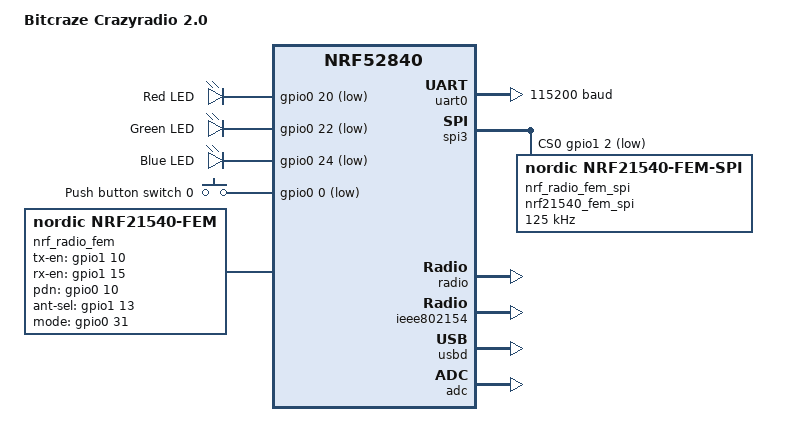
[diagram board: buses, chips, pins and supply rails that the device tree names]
/*
 * Copyright (c) 2022 Bitcraze AB
 * Copyright (c) 2020 Nordic Semiconductor ASA
 * Copyright (c) 2017 Linaro Limited
 *
 * SPDX-License-Identifier: Apache-2.0
 */

/dts-v1/;
#include <nordic/nrf52840_qiaa.dtsi>
#include "bitcraze_crazyradio_2-pinctrl.dtsi"

/ {
	model = "Bitcraze Crazyradio 2.0";
	compatible = "nordic,bitcraze_crazyradio_2";

	chosen {
		zephyr,console = &uart0;
		zephyr,shell-uart = &uart0;
		zephyr,uart-mcumgr = &uart0;
		zephyr,bt-mon-uart = &uart0;
		zephyr,bt-c2h-uart = &uart0;
		zephyr,sram = &sram0;
		zephyr,flash = &flash0;
		zephyr,code-partition = &slot0_partition;
		zephyr,ieee802154 = &ieee802154;
	};

	leds {
		compatible = "gpio-leds";
		led0: led_0 {
			gpios = <&gpio0 20 GPIO_ACTIVE_LOW>;
			label = "Red LED";
		};
		led1: led_1 {
			gpios = <&gpio0 22 GPIO_ACTIVE_LOW>;
			label = "Green LED";
		};
		led2: led_2 {
			gpios = <&gpio0 24 GPIO_ACTIVE_LOW>;
			label = "Blue LED";
		};
	};

	buttons {
		compatible = "gpio-keys";
		button0: button_0 {
			gpios = <&gpio0 0 (GPIO_PULL_UP | GPIO_ACTIVE_LOW)>;
			label = "Push button switch 0";
		};
	};

	nrf_radio_fem: nrf21540_fem {
		compatible = "nordic,nrf21540-fem";
		tx-en-gpios = <&gpio1 10 GPIO_ACTIVE_HIGH>;
		rx-en-gpios = <&gpio1 15 GPIO_ACTIVE_HIGH>;
		pdn-gpios = <&gpio0 10 GPIO_ACTIVE_HIGH>;
		ant-sel-gpios = <&gpio1 13 GPIO_ACTIVE_HIGH>;
		mode-gpios = <&gpio0 31 GPIO_ACTIVE_HIGH>;
		spi-if = <&nrf_radio_fem_spi>;
	};

	/* These aliases are provided for compatibility with samples */
	aliases {
		led0 = &led0;
		led1 = &led1;
		led2 = &led2;
		sw0 = &button0;
		bootloader-led0 = &led0;
		mcuboot-button0 = &button0;
		mcuboot-led0 = &led0;
		watchdog0 = &wdt0;
	};
};

&gpiote {
	status = "okay";
};

&gpio0 {
	status = "okay";
};

&gpio1 {
	status = "okay";
};

&uart0 {
	compatible = "nordic,nrf-uarte";
	// status = "okay";
	current-speed = <115200>;
	pinctrl-0 = <&uart0_default>;
	pinctrl-1 = <&uart0_sleep>;
	pinctrl-names = "default", "sleep";
};

fem_spi: &spi3 {
	status = "okay";
	cs-gpios = <&gpio1 2 GPIO_ACTIVE_LOW>;

	pinctrl-0 = <&spi3_default>;
	pinctrl-1 = <&spi3_sleep>;
	pinctrl-names = "default", "sleep";
	nrf_radio_fem_spi: nrf21540_fem_spi@0 {
		compatible = "nordic,nrf21540-fem-spi";
		status = "okay";
		reg = <0>;
		spi-max-frequency = <125000>;
	};
};

&radio {
	fem = <&nrf_radio_fem>;
};

&ieee802154 {
	status = "okay";
};

&flash0 {

	partitions {
		compatible = "fixed-partitions";
		#address-cells = <1>;
		#size-cells = <1>;

		boot_partition: partition@0 {
			label = "mcuboot";
			reg = <0x00000000 0x0000C000>;
		};
		slot0_partition: partition@c000 {
			label = "image-0";
			reg = <0x0000C000 0x00067000>;
		};
		slot1_partition: partition@73000 {
			label = "image-1";
			reg = <0x00073000 0x00067000>;
		};
		scratch_partition: partition@da000 {
			label = "image-scratch";
			reg = <0x000da000 0x0001e000>;
		};

		/*
		 * The flash starting at 0x000f8000 and ending at
		 * 0x000fffff is reserved for use by the application.
		 */

		/*
		 * Storage partition will be used by FCB/LittleFS/NVS
		 * if enabled.
		 */
		storage_partition: partition@f8000 {
			label = "storage";
			reg = <0x000f8000 0x00008000>;
		};
	};
};

zephyr_udc0: &usbd {
	compatible = "nordic,nrf-usbd";
	status = "okay";
};

&adc {
	status = "okay";
};
